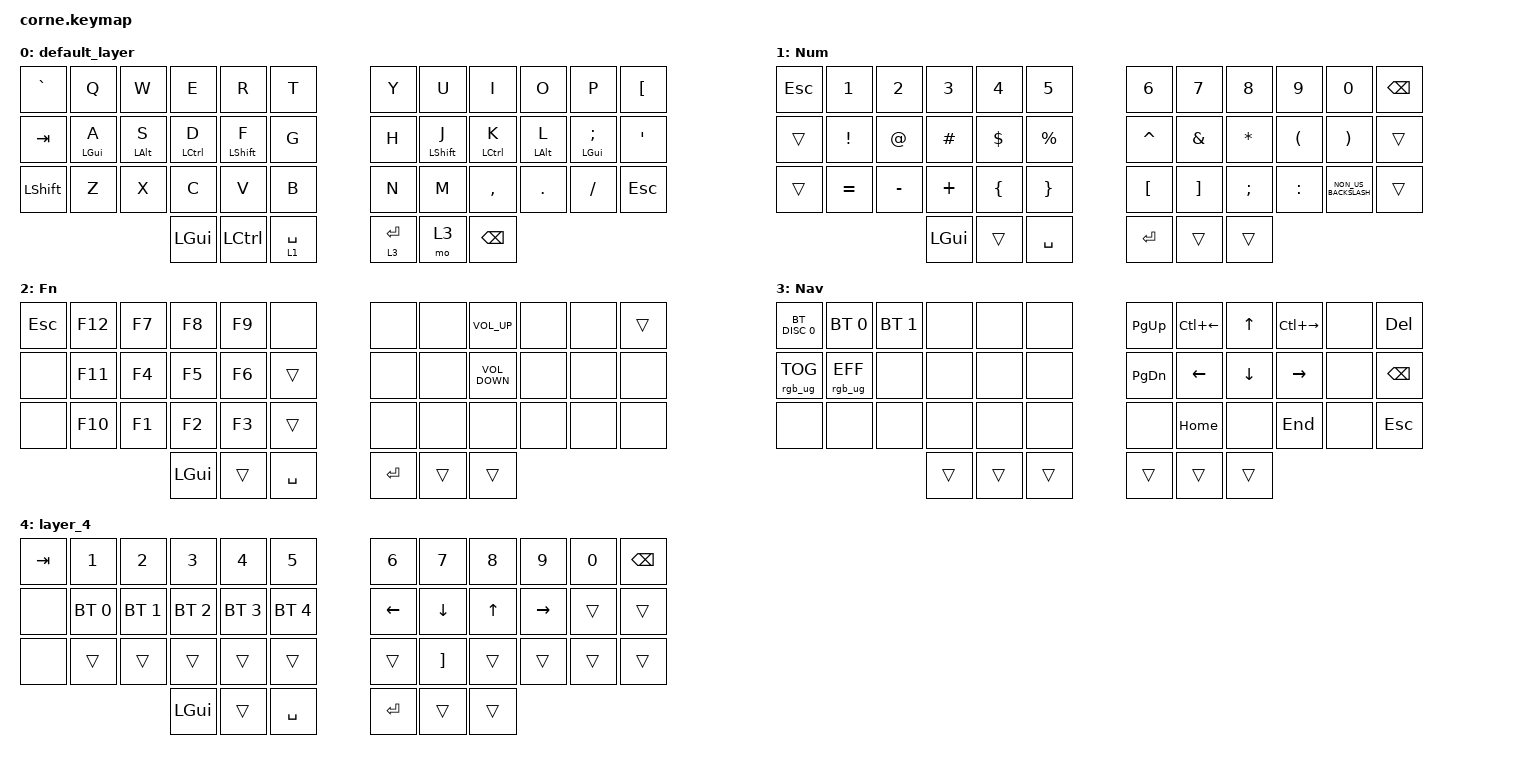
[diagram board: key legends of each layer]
/*
 * Copyright (c) 2020 The ZMK Contributors
 *
 * SPDX-License-Identifier: MIT
 */

#include <behaviors.dtsi>
#include <dt-bindings/zmk/bt.h>
#include <dt-bindings/zmk/keys.h>
#include <dt-bindings/zmk/rgb.h>

/ {
    behaviors {
        hmr: hmr {
            compatible = "zmk,behavior-hold-tap";
            label = "HMR";
            bindings = <&kp>, <&kp>;

            #binding-cells = <2>;
            tapping-term-ms = <280>;
            quick-tap-ms = <175>;
            flavor = "balanced";
            hold-trigger-key-positions = <0 1 2 3 4 5 12 13 14 15 16 17 24 25 26 27 28 29 36 37 38 39 40 41>;
            hold-trigger-on-release;
            require-prior-idle-ms = <150>;
        };

        hml: hml {
            compatible = "zmk,behavior-hold-tap";
            label = "HML";
            bindings = <&kp>, <&kp>;

            #binding-cells = <2>;
            tapping-term-ms = <280>;
            quick-tap-ms = <175>;
            flavor = "balanced";
            hold-trigger-on-release;
            hold-trigger-key-positions = <6 7 8 9 10 11 18 19 20 21 22 23 30 31 32 33 34 35 39 40 41 36 37 38>;
            require-prior-idle-ms = <150>;
        };
    };

    combos {
        compatible = "zmk,combos";

        copy {
            bindings = <&kp LC(C)>;
            key-positions = <25 26>;
        };

        paste {
            bindings = <&kp LC(V)>;
            key-positions = <27 28>;
        };
    };

    keymap {
        compatible = "zmk,keymap";

        default_layer {
            // -----------------------------------------------------------------------------------------
            // |  TAB |  Q  |  W  |  E  |  R  |  T  |   |  Y  |  U   |  I  |  O  |  P  | BKSP |
            // | CTRL |  A  |  S  |  D  |  F  |  G  |   |  H  |  J   |  K  |  L  |  ;  |  '   |
            // | SHFT |  Z  |  X  |  C  |  V  |  B  |   |  N  |  M   |  ,  |  .  |  /  | ESC  |
            //                    | GUI | LWR | SPC |   | ENT | RSE  | ALT |

            bindings = <
&kp GRAVE  &kp Q            &kp W            &kp E         &kp R              &kp T          &kp Y        &kp U              &kp I         &kp O            &kp P                    &kp LEFT_BRACKET
&kp TAB    &hml LEFT_GUI A  &hml LEFT_ALT S  &hml LCTRL D  &hml LEFT_SHIFT F  &kp G          &kp H        &hmr LEFT_SHIFT J  &hmr LCTRL K  &hmr LEFT_ALT L  &hmr LEFT_GUI SEMICOLON  &kp SQT
&kp LSHFT  &kp Z            &kp X            &kp C         &kp V              &kp B          &kp N        &kp M              &kp COMMA     &kp DOT          &kp FSLH                 &kp ESC
                                             &kp LGUI      &kp LCTRL          &lt 1 SPACE    &lt 3 ENTER  &mo 3              &kp BSPC
            >;
        };

        Num {
            // -----------------------------------------------------------------------------------------
            // |  TAB |  1  |  2  |  3  |  4  |  5  |   |  6  |  7  |  8  |  9  |  0  | BKSP |
            // | BTCLR| BT1 | BT2 | BT3 | BT4 | BT5 |   | LFT | DWN |  UP | RGT |     |      |
            // | SHFT |     |     |     |     |     |   |     |     |     |     |     |      |
            //                    | GUI |     | SPC |   | ENT |     | ALT |

            bindings = <
&kp ESC  &kp NUMBER_1     &kp NUMBER_2  &kp NUMBER_3  &kp NUMBER_4    &kp N5             &kp NUMBER_6      &kp N7             &kp N8         &kp N9                &kp N0                 &kp BSPC
&trans   &kp EXCLAMATION  &kp AT_SIGN   &kp HASH      &kp DOLLAR      &kp PERCENT        &kp CARET         &kp AMPERSAND      &kp ASTERISK   &kp LEFT_PARENTHESIS  &kp RIGHT_PARENTHESIS  &trans
&trans   &kp EQUAL        &kp MINUS     &kp PLUS      &kp LEFT_BRACE  &kp RIGHT_BRACE    &kp LEFT_BRACKET  &kp RIGHT_BRACKET  &kp SEMICOLON  &kp COLON             &kp NON_US_BACKSLASH   &trans
                                        &kp LGUI      &trans          &kp SPACE          &kp RET           &trans             &trans
            >;
        };

        Fn {
            // -----------------------------------------------------------------------------------------
            // |  TAB |  !  |  @  |  #  |  $  |  %  |   |  ^  |  &  |  *  |  (  |  )  | BKSP |
            // | CTRL |     |     |     |     |     |   |  -  |  =  |  [  |  ]  |  \  |  `   |
            // | SHFT |     |     |     |     |     |   |  _  |  +  |  {  |  }  | "|" |  ~   |
            //                    | GUI |     | SPC |   | ENT |     | ALT |

            bindings = <
&kp ESC  &kp F12  &kp F7  &kp F8    &kp F9  &none        &none    &none   &kp C_VOLUME_UP    &none  &none  &trans
&none    &kp F11  &kp F4  &kp F5    &kp F6  &trans       &none    &none   &kp C_VOLUME_DOWN  &none  &none  &none
&none    &kp F10  &kp F1  &kp F2    &kp F3  &trans       &none    &none   &none              &none  &none  &none
                          &kp LGUI  &trans  &kp SPACE    &kp RET  &trans  &trans
            >;
        };

        Nav {
            bindings = <
&bt BT_DISC 0    &bt BT_SEL 0     &bt BT_SEL 1  &none   &none   &none     &kp PG_UP      &kp LC(LEFT)    &kp UP    &kp LC(RIGHT)  &none  &kp DEL
&rgb_ug RGB_TOG  &rgb_ug RGB_EFF  &none         &none   &none   &none     &kp PAGE_DOWN  &kp LEFT_ARROW  &kp DOWN  &kp RIGHT      &none  &kp BACKSPACE
&none            &none            &none         &none   &none   &none     &none          &kp HOME        &none     &kp END        &none  &kp ESC
                                                &trans  &trans  &trans    &trans         &trans          &trans
            >;
        };

        layer_4 {
            bindings = <
&kp TAB  &kp N1        &kp N2        &kp N3        &kp N4        &kp N5          &kp N6    &kp N7             &kp N8  &kp N9     &kp N0  &kp BSPC
&none    &bt BT_SEL 0  &bt BT_SEL 1  &bt BT_SEL 2  &bt BT_SEL 3  &bt BT_SEL 4    &kp LEFT  &kp DOWN           &kp UP  &kp RIGHT  &trans  &trans
&none    &trans        &trans        &trans        &trans        &trans          &trans    &kp RIGHT_BRACKET  &trans  &trans     &trans  &trans
                                     &kp LGUI      &trans        &kp SPACE       &kp RET   &trans             &trans
            >;
        };
    };

    conditional_layers {
        compatible = "zmk,conditional-layers";

        fn {
            if-layers = <1 3>;
            then-layer = <2>;
        };
    };
};
